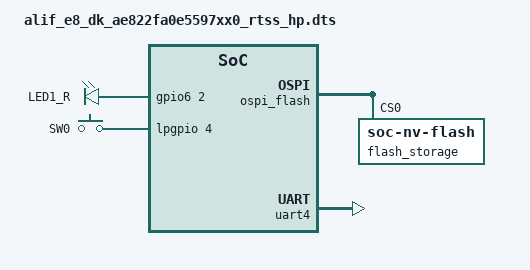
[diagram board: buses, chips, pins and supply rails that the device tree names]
/* Copyright (c) 2025 Alif Semiconductor
 *
 * SPDX-License-Identifier: Apache-2.0
 */

/dts-v1/;

#include <alif/ensemble/e8/ae822fa0e5597xx0.dtsi>
#include <alif/ensemble/common/ensemble_rtss_hp.dtsi>
#include "../common/ensemble-e4-e6-e8-pinctrl.dtsi"

/ {
	compatible = "arm,alif-e8-dk-ae822fa0e5597xx0-rtss-hp";
	#address-cells = <1>;
	#size-cells = <1>;

	chosen {
		zephyr,flash = &mram_storage;
		zephyr,code-partition = &slot0_partition;
		zephyr,sram = &dtcm;
		zephyr,console = &uart4;
		zephyr,shell-uart = &uart4;
		zephyr,uart-mcumgr = &uart4;
	};

	aliases {
		led0 = &aled0;
		sw0 = &button0;
		watchdog0 = &wdog0;
		rtsshemhu0r = &rtsshp_rtsshe_mhu0_r;
		rtsshemhu0s = &rtsshe_rtsshp_mhu0_s;
		rtsshemhu1r = &rtsshp_rtsshe_mhu1_r;
		rtsshemhu1s = &rtsshe_rtsshp_mhu1_s;
	};

	leds {
		compatible = "gpio-leds";

		aled0: led_0 {
			gpios = <&gpio6 2 0>;
			label = "LED1_R";
		};
	};

	buttons {
		compatible = "gpio-keys";

		button0: button_0 {
			gpios = < &lpgpio 4 0 >;
			label = "SW0";
		};
	};

	mipi_switch {
		compatible = "mipi-lvds-mux";
		camera_select: sensor_select {
			select-gpios = <&gpio14 2 GPIO_ACTIVE_LOW>;
		};
		display_select: display_panel_select {
			select-gpios = <&gpio14 2 GPIO_ACTIVE_HIGH>;
		};
	};
};

&lpgpio {
	status = "okay";
};

&ospi_flash{
	compatible = "issi,xspi-flash-controller";
	reg = <0x0>;
	erase-value = <0xff>;
	num-of-sector = <32768>;
	page-size = <4096>;
	sector-size = <4096>;
	write-block-size = <1>;

	/* Flash Size 128MB */
	#address-cells = <1>;
	#size-cells = <1>;

	flash_storage: flash_storage@0 {
		compatible = "soc-nv-flash";
		reg = <0x0 DT_SIZE_M(128)>;
		erase-block-size = <DT_SIZE_K(4)>;
		write-block-size = <1>;
	};
};

&gpio6 {
	status = "okay";
};

&uart4 {
	status = "okay";
};

